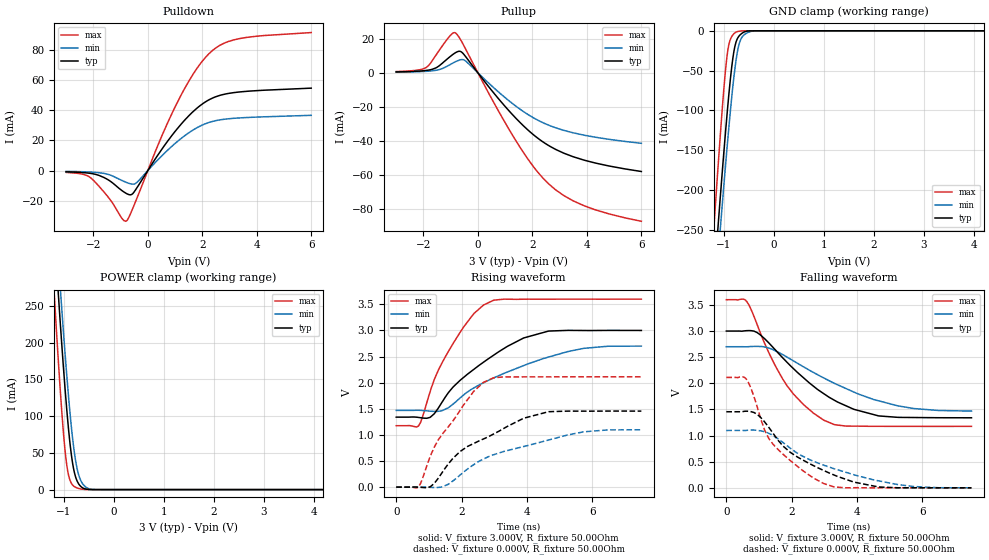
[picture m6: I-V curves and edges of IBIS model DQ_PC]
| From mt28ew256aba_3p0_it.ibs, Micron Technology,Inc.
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|   Model DQ_PC
[Model]   DQ_PC
Model_type   I/O
Vinl = 0.800V
Vinh = 2.100V
Vmeas = 1.500V
Cref = 30.000pF
|   typ   min   max
C_comp   4.086pF   3.586pF   4.586pF
[Voltage Range]   3.000V   2.700V   3.600V
| Junction Temperature (Ambient temp is 35C typ, 85C min, -40C max)
[Temperature Range]   50.0   100.0   -40.0
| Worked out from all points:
|   slope of the pulldown table from 0 to 0.45 V, typ, clamps not added: 36.2 ohm
|   slope of the pullup table from 0 to 0.45 V, typ, clamps not added: 48.8 ohm
|   GND clamp passes 1 mA (typ) near -0.58 V on its own axis
|   POWER clamp passes 1 mA (typ) near -0.57 V on its own axis
|   falling waveform, V_fixture 3.000V, R_fixture 50.00Ohm: 20-80 % time 1.86ns typ, 2.41ns min, 1.31ns max; typ from 3 V to 1.34 V
|   rising waveform, V_fixture 3.000V, R_fixture 50.00Ohm: 20-80 % time 1.88ns typ, 2.49ns min, 1.17ns max; typ from 1.34 V to 3 V
|   rising waveform, V_fixture 0.000V, R_fixture 50.00Ohm: 20-80 % time 1.99ns typ, 2.59ns min, 1.25ns max; typ from 0 V to 1.46 V
|   falling waveform, V_fixture 0.000V, R_fixture 50.00Ohm: 20-80 % time 1.83ns typ, 2.37ns min, 1.28ns max; typ from 1.46 V to 0 V
[Pulldown]
|   Voltage   I(typ)   I(min)   I(max)
-3V       -791.3uA   -502.2uA   -1.183mA
-2.1V     -1.861mA   -971.7uA   -4.731mA
-1.515V   -5.491mA   -2.227mA   -16.22mA
-948mV    -13.28mA   -6.567mA   -31.69mA
-786mV    -15.18mA   -7.83mA    -33.45mA
-588mV    -15.79mA   -8.932mA   -26.61mA
-399mV    -11.37mA   -7.826mA   -18.3mA
978mV     25.46mA    17.63mA    41.36mA
1.653V    38.97mA    26.82mA    63.67mA
2.229V    46.78mA    31.84mA    77.22mA
3.264V    51.96mA    34.82mA    87.15mA
6V        54.69mA    36.66mA    91.55mA
[GND Clamp]
|   Voltage   I(typ)   I(min)   I(max)
-3V       -1.937A    -1.901A    -2.028A
-1.209V   -320.3mA   -355.6mA   -252.6mA
-1.191V   -305.1mA   -341.1mA   -235.7mA
-1.128V   -252.3mA   -290.6mA   -177.8mA
-1.074V   -207.9mA   -248.1mA   -130.1mA
-1.002V   -151.1mA   -192.8mA   -71.46mA
-939mV    -104.1mA   -146.3mA   -31.04mA
-831mV    -37.77mA   -74.1mA    -5.771mA
-750mV    -12.38mA   -32.75mA   -1.38mA
-633mV    -2.774mA   -7.272mA   -111.1uA
-408mV    -8.072uA   -216uA     -158.9nA
6V        0A         0A         0A
[Pullup]
|   Voltage   I(typ)   I(min)   I(max)
-3V       560.3uA    414.9uA    767.4uA
-1.902V   1.431mA    920.2uA    3.153mA
-1.506V   3.263mA    1.639mA    11.24mA
-1.02V    9.588mA    4.895mA    21.86mA
-822mV    11.88mA    6.574mA    23.49mA
-624mV    12.46mA    7.752mA    19.16mA
-435mV    9.224mA    6.784mA    13.47mA
1.365V    -26.16mA   -19.21mA   -39.09mA
2.517V    -41.92mA   -30.19mA   -63.95mA
3.165V    -47.25mA   -33.82mA   -72.19mA
3.867V    -51.12mA   -36.51mA   -77.85mA
6V        -57.95mA   -41.38mA   -87.21mA
[POWER Clamp]
|   Voltage   I(typ)   I(min)   I(max)
-3V       2.486A     2.449A     2.578A
-1.191V   351mA      395.5mA    264.8mA
-1.101V   257.3mA    304.1mA    166.2mA
-1.074V   229.7mA    277.8mA    138.3mA
-1.047V   203.7mA    251.5mA    112.2mA
-957mV    122.1mA    169.4mA    42mA
-903mV    80.3mA     124.6mA    19.01mA
-849mV    47.49mA    85.62mA    8.684mA
-750mV    14.52mA    34.03mA    2.74mA
-633mV    2.822mA    8.903mA    589.8uA
-426mV    54.76uA    272.1uA    6.325uA
6V        0A         0A         0A
[Ramp]
R_load = 50.00Ohm
|   typ   min   max
dV/dt_r   873.361mV/1.988ns   658.792mV/2.588ns   1.267V/1.255ns
dV/dt_f   995.918mV/1.860ns   738.532mV/2.406ns   1.454V/1.309ns
[Falling Waveform]
V_fixture = 3.000V
V_fixture_min = 2.700V
V_fixture_max = 3.600V
R_fixture = 50.00Ohm
|   Time   V(typ)   V(min)   V(max)
0s        3V         2.7V       3.6V
630ps     3.007V     2.699V     3.56V
1.04ns    2.927V     2.704V     2.966V
1.85ns    2.407V     2.504V     1.96V
2.37ns    2.101V     2.312V     1.587V
2.99ns    1.798V     2.099V     1.292V
3.9ns     1.503V     1.833V     1.181V
4.66ns    1.376V     1.665V     1.177V
5.74ns    1.345V     1.517V     1.176V
7.5ns     1.34V      1.469V     1.176V
[Rising Waveform]
V_fixture = 3.000V
V_fixture_min = 2.700V
V_fixture_max = 3.600V
R_fixture = 50.00Ohm
|   Time   V(typ)   V(min)   V(max)
0s        1.34V      1.469V     1.176V
690ps     1.334V     1.471V     1.178V
1.04ns    1.337V     1.455V     1.832V
1.43ns    1.653V     1.472V     2.413V
2.05ns    2.095V     1.758V     3.055V
2.68ns    2.396V     2.001V     3.49V
3.9ns     2.856V     2.328V     3.598V
4.66ns    2.988V     2.491V     3.599V
5.74ns    2.999V     2.658V     3.599V
7.5ns     3V         2.7V       3.6V
[Rising Waveform]
V_fixture = 0.000V
V_fixture_min = 0.000V
V_fixture_max = 0.000V
R_fixture = 50.00Ohm
|   Time   V(typ)   V(min)   V(max)
0s        2.528uV    7.289uV    -32.68uV
680ps     -1.067mV   594.1uV    3.84mV
1.04ns    6.252mV    -4.469mV   583.9mV
1.3ns     182.8mV    -5.109mV   916.9mV
1.96ns    684.1mV    234.3mV    1.477V
2.38ns    838.3mV    433.1mV    1.839V
2.98ns    1.017V     620.1mV    2.093V
4.66ns    1.444V     901.6mV    2.112V
5.74ns    1.455V     1.059V     2.112V
7.5ns     1.456V     1.098V     2.112V
[Falling Waveform]
V_fixture = 0.000V
V_fixture_min = 0.000V
V_fixture_max = 0.000V
R_fixture = 50.00Ohm
|   Time   V(typ)   V(min)   V(max)
0s        1.456V     1.098V     2.112V
590ps     1.466V     1.097V     2.096V
740ps     1.459V     1.107V     1.924V
940ps     1.407V     1.1V       1.557V
1.17ns    1.262V     1.072V     1.108V
1.42ns    1.052V     1.003V     841.9mV
1.96ns    677.7mV    756.8mV    520.5mV
2.98ns    331.6mV    433.4mV    81.06mV
4.66ns    15.65mV    133mV      74.31uV
7.5ns     2.528uV    7.289uV    -32.68uV
